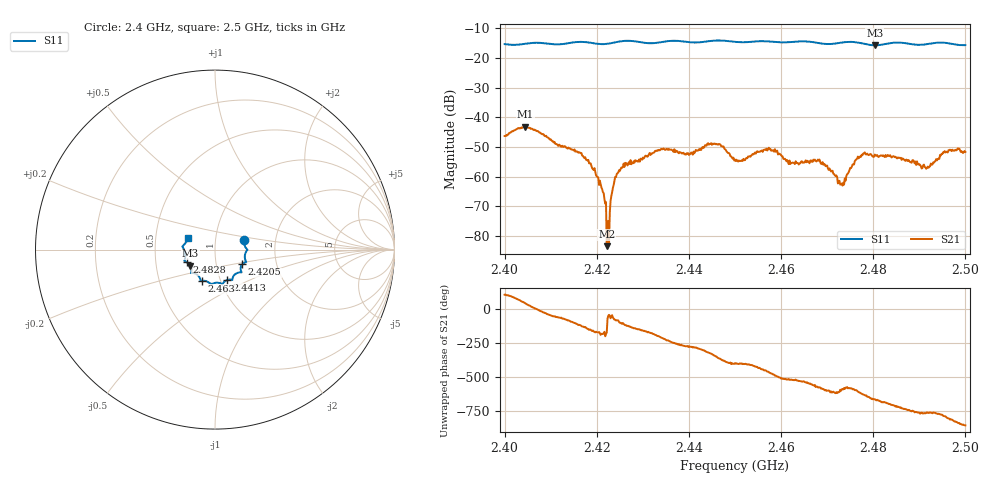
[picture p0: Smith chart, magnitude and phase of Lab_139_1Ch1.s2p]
# Hz S RI R 50
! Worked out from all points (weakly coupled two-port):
!   601 points, 2.4 GHz to 2.5 GHz, reference 50 ohm
!   highest |S21| = -43.20 dB at 2.4045 GHz (marker M1); lowest = -83.4 dB at 2.4222 GHz (marker M2)
!   lowest |S11| = -15.7 dB at 2.4803 GHz (marker M3), VSWR 1.39, Z = 37.4 - j6.84 ohm
!   |S11| at or under -10 dB: start of sweep to end of sweep
!   S12 and S22 are empty: the file has one direction only
!   S11 on the Smith chart (normalised r, x): 2.4 GHz: 1.38, +0.15; 2.4205 GHz: 1.34, -0.22; 2.4413 GHz: 1.08, -0.38; 2.463 GHz: 0.82, -0.29; 2.4828 GHz: 0.72, -0.10; 2.5 GHz: 0.73, +0.10
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2.4e9  0.1631 0.0526  -0.00143 0.00462  0 0  0 0
2.4045e9  0.1737 0.00668  0.00513 0.00464  0 0  0 0
2.416667e9  0.1733 -0.0697  -0.00141 -0.00206  0 0  0 0
2.4205e9  0.1521 -0.0809  -0.000711 -0.000135  0 0  0 0
2.422167e9  0.1439 -0.0963  -6.66e-05 -9.49e-06  0 0  0 0
2.422667e9  0.143 -0.1013  5.78e-05 -5.18e-05  0 0  0 0
2.424e9  0.1439 -0.1143  0.000201 -0.000968  0 0  0 0
2.425333e9  0.1469 -0.1231  -0.000371 -0.00137  0 0  0 0
2.433333e9  0.1005 -0.1515  -0.00262 0.000851  0 0  0 0
2.441333e9  0.0676 -0.1695  0.000605 0.00255  0 0  0 0
2.446333e9  0.0414 -0.1931  0.00345 -7.01e-05  0 0  0 0
2.45e9  0.0245 -0.1856  0.0015 -0.00122  0 0  0 0
2.457167e9  -0.0262 -0.1888  -0.000602 -0.00279  0 0  0 0
2.463e9  -0.072 -0.1736  -0.00156 -0.000475  0 0  0 0
2.466667e9  -0.0815 -0.1674  -0.00172 0.000476  0 0  0 0
2.473167e9  -0.1275 -0.1301  -0.000466 0.000606  0 0  0 0
2.476667e9  -0.132 -0.1253  -0.000776 0.00204  0 0  0 0
2.480333e9  -0.1373 -0.089  0.00138 0.0019  0 0  0 0
2.482833e9  -0.1585 -0.07  0.00191 0.00101  0 0  0 0
2.483333e9  -0.1624 -0.0682  0.00211 0.000746  0 0  0 0
2.491667e9  -0.1713 -0.00205  0.00103 -0.000962  0 0  0 0
2.5e9  -0.1521 0.0637  -0.002 -0.00168  0 0  0 0
